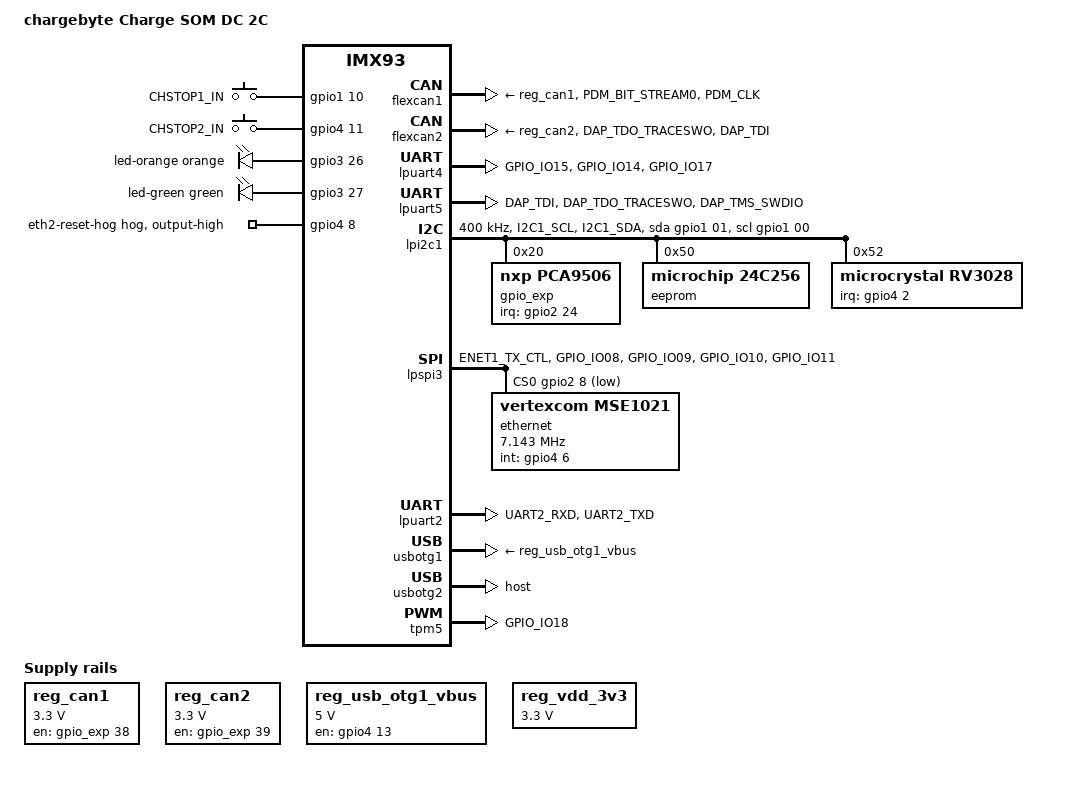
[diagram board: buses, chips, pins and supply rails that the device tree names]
// SPDX-License-Identifier: (GPL-2.0+ OR MIT)
/*
 * Copyright (C) 2025 chargebyte GmbH
 */

/dts-v1/;

#include <dt-bindings/input/input.h>
#include <dt-bindings/leds/common.h>
#include "imx93-phycore-som.dtsi"
#include "imx93-charge-som.dtsi"

/ {
	model = "chargebyte Charge SOM DC 2C";
	compatible = "chargebyte,imx93-charge-som-dc-2c", "chargebyte,imx93-charge-som",
		     "phytec,imx93-phycore-som", "fsl,imx93";

	aliases {
		rtc0 = &rv3028;
		rtc1 = &bbnsm_rtc;
	};

	reg_can1: regulator-can {
		compatible = "regulator-fixed";
		gpio = <&gpio_exp 38 GPIO_ACTIVE_HIGH>;
		enable-active-high;
		regulator-max-microvolt = <3300000>;
		regulator-min-microvolt = <3300000>;
		regulator-name = "CAN1_EN";
	};

	reg_can2: regulator-can {
		compatible = "regulator-fixed";
		gpio = <&gpio_exp 39 GPIO_ACTIVE_HIGH>;
		enable-active-high;
		regulator-max-microvolt = <3300000>;
		regulator-min-microvolt = <3300000>;
		regulator-name = "CAN2_EN";
	};

	reg_usb_otg1_vbus: regulator-usb-otg1-vbus {
		pinctrl-names = "default";
		pinctrl-0 = <&pinctrl_usbotg1grp>;
		compatible = "regulator-fixed";
		regulator-name = "usb_otg1_vbus";
		regulator-min-microvolt = <5000000>;
		regulator-max-microvolt = <5000000>;
		gpio = <&gpio4 13 GPIO_ACTIVE_HIGH>;
		enable-active-high;
		regulator-boot-on;
	};

	reg_vdd_3v3: regulator-vdd-3v3 {
		compatible = "regulator-fixed";
		regulator-max-microvolt = <3300000>;
		regulator-min-microvolt = <3300000>;
		regulator-name = "VDD_IO_3V3";
	};

	user_keys: gpio-keys {
		compatible = "gpio-keys";
		pinctrl-names = "default";
		pinctrl-0 = <&pinctrl_gpiokeys>;

		switch-chstop1-in {
			label = "CHSTOP1_IN";
			gpios = <&gpio1 10 GPIO_ACTIVE_HIGH>;
			linux,code = <KEY_F1>;
		};

		switch-chstop2-in {
			label = "CHSTOP2_IN";
			gpios = <&gpio4 11 GPIO_ACTIVE_HIGH>;
			linux,code = <KEY_F2>;
		};
	};

	user_leds: user-leds {
		compatible = "gpio-leds";
		pinctrl-names = "default";
		pinctrl-0 = <&pinctrl_user_leds>;

		led-orange {
			color = <LED_COLOR_ID_ORANGE>;
			function = LED_FUNCTION_BOOT;
			gpios = <&gpio3 26 GPIO_ACTIVE_HIGH>;
			linux,default-trigger = "timer";
		};

		led-green {
			color = <LED_COLOR_ID_GREEN>;
			function = LED_FUNCTION_BOOT;
			gpios = <&gpio3 27 GPIO_ACTIVE_HIGH>;
		};
	};

	// Avoid conflict with Heartbeat LED on phyCore
	/delete-node/ leds;
};

&bbnsm_pwrkey {
	status = "disabled";
};

&flexcan1 {
	pinctrl-names = "default";
	pinctrl-0 = <&pinctrl_flexcan1>;
	xceiver-supply = <&reg_can1>;
	status = "okay";
};

&flexcan2 {
	pinctrl-names = "default";
	pinctrl-0 = <&pinctrl_flexcan2>;
	xceiver-supply = <&reg_can2>;
	status = "okay";
};

&lpuart4 {
	pinctrl-names = "default";
	pinctrl-0 = <&pinctrl_uart4>;
	rs485-rts-active-high;
	linux,rs485-enabled-at-boot-time;
	status = "okay";
};

&lpuart5 {
	pinctrl-names = "default";
	pinctrl-0 = <&pinctrl_uart5>;
	rs485-rts-active-high;
	linux,rs485-enabled-at-boot-time;
	status = "okay";
};

&lpi2c1 {
	clock-frequency = <400000>;
	pinctrl-names = "default", "gpio";
	pinctrl-0 = <&pinctrl_lpi2c1>;
	pinctrl-1 = <&pinctrl_lpi2c1_gpio>;
	scl-gpios = <&gpio1 00 (GPIO_ACTIVE_HIGH | GPIO_OPEN_DRAIN)>;
	sda-gpios = <&gpio1 01 (GPIO_ACTIVE_HIGH | GPIO_OPEN_DRAIN)>;
	#address-cells = <1>;
	#size-cells = <0>;
	status = "okay";

	gpio_exp: gpio@20 {
		compatible = "nxp,pca9506";
		reg = <0x20>;
		gpio-controller;
		#gpio-cells = <2>;
		interrupt-parent = <&gpio2>;
		interrupts = <24 IRQ_TYPE_LEVEL_LOW>;

		// 5 x 8 pins (0..39)
		gpio-line-names = "DOUT1_EN", "DOUT2_EN", "DOUT3_EN", "DOUT4_EN", "DOUT5_EN", "DOUT6_EN", "DOUT7_EN", "DOUT8_EN", \
		                  "DOUT9_EN", "DOUT10_EN", "DOUT11_EN", "DOUT12_EN", "DOUT13_EN", "DOUT14_EN", "DOUT15_EN", "DOUT16_EN", \
		                  "nDOUT1_ST", "nDOUT2_ST", "nDOUT3_ST", "nDOUT4_ST", "nDOUT5_ST", "nDOUT6_ST", "nDOUT7_ST", "nDOUT8_ST", \
		                  "nDOUT9_ST", "nDOUT10_ST", "nDOUT11_ST", "nDOUT12_ST", "nDOUT13_ST", "nDOUT14_ST", "nDOUT15_ST", "nDOUT16_ST", \
		                  "GPIO_EXP_1", "GPIO_EXP_2", "HW_REV1", "HW_REV2", "HW_REV3", "UART_MUX_IN", "CAN1_EN", "CAN2_EN";
	};

	eeprom@50 {
		compatible = "microchip,24c256";
		reg = <0x50>;
		pagesize = <64>;
	};

	rv3028: rtc@52 {
		compatible = "microcrystal,rv3028";
		reg = <0x52>;
		pinctrl-names = "default";
		pinctrl-0 = <&pinctrl_rtc>;
		interrupts = <2 IRQ_TYPE_LEVEL_LOW>;
		interrupt-parent = <&gpio4>;
		wakeup-source;
		trickle-resistor-ohms = <3000>;

		nvmem-layout {
			compatible = "fixed-layout";
			#address-cells = <1>;
			#size-cells = <1>;

			plc2_host_mac_address: base-mac-address@12 {
				compatible = "mac-base";
				reg = <0x12 0x6>;
				#nvmem-cell-cells = <1>;
			};

			plc2_fw_mac_address: base-mac-address@18 {
				compatible = "mac-base";
				reg = <0x18 0x6>;
				#nvmem-cell-cells = <1>;
			};

			lan9500_mac_address: base-mac-address@1e {
				compatible = "mac-base";
				reg = <0x1e 0x6>;
				#nvmem-cell-cells = <1>;
			};
		};
	};
};

&lpspi3 {
	pinctrl-names = "default";
	pinctrl-0 = <&pinctrl_lpspi3>;
	num-cs = <1>;
	cs-gpios = <&gpio2 8 GPIO_ACTIVE_LOW>;
	status = "okay";

	ethernet@0 {
		compatible = "vertexcom,mse1021";
		reg = <0>;
		int-gpios = <&gpio4 6 GPIO_ACTIVE_HIGH>;
		spi-cpha;
		spi-cpol;
		spi-max-frequency = <7142857>;

		nvmem-cells = <&plc2_host_mac_address 0>;
		nvmem-cell-names = "mac-address";
	};
};

&lpuart2 {
	pinctrl-names = "default";
	pinctrl-0 = <&pinctrl_uart2>;
	status = "okay";
};

&usbotg1 {
	vbus-supply = <&reg_usb_otg1_vbus>;
	over-current-active-low;
	status = "okay";
};

&usbotg2 {
	disable-over-current;
	dr_mode = "host";
	status = "okay";

	/* For MAC address later ...
	lan9500: ethernet@1 {
		compatible = "usb424,9500";
		reg = <1>;

		nvmem-cells = <&lan9500_mac_address 0>;
		nvmem-cell-names = "mac-address";
	};
	*/
};

// FIXME
&gpio1 {
	// 16 pins (0..15)
	gpio-line-names = "I2C1_SCL", "I2C1_SDA", "", "", "", "", "LPUART2_RX", "LPUART2_TX", "CAN1_TX", "CAN1_RX", \
			  "CHSTOP_IN", "SPI_TPM_nCS0", "", "", "", "";
};

&gpio2 {
	// 30 pins (0..29)
	gpio-line-names = "SPI_PLC_nCS0", "", "", "", "", "", "", "SPI_PLC_nINT0", "SPI_EXT_CS0", "SPI_EXT_MISO", \
			  "SPI_EXT_MOSI", "SPI_EXT_CLK", "", "", "LPUART4_TX", "LPUART4_RX", "", "LPUART4_RTS_B", "BACKLIGHT_PWM", "", \
			  "", "", "I2C5_SDA", "I2C5_SCL", "GPIOEXP_nINT", "CAN2_TX", "TOUCH_nINT", "CAN2_RX", "", "";
};

&gpio3 {
	// 32 pins (0..31)
	gpio-line-names = "RESET_nGPIO", "IMX9_DIN3", "IMX9_DIN4", "IMX9_DIN5", "IMX9_DIN6", "IMX9_DIN7", "IMX9_DIN8", "TOUCH_nRESET", "", "", \
			  "", "", "", "", "", "", "", "", "", "", \
			  "", "nPLC2_RESET_INT", "nSAFETY2_RESET_INT", "SAFETY2_BOOTMODE_SET", "IMX9_DIN1", "IMX9_DIN2", "USER_ORANGE", "USER_GREEN", "LPUART5_RX", "LPUART5_RTS_B", \
			  "PLC2_DL_INTR_SPI", "LPUART5_TX";
};

&gpio4 {
	// 30 pins (0..29)
	gpio-line-names = "USB1_ID", "", "RTC_nINT", "ETH2_nINT", "USB1_OC", "", "SPI_PLC2_nINT0", "DL_REQ_INTR_SPI", "ETH2_nRESET", "nPLC_RESET_INT", \
			  "", "CHSTOP2_IN", "SAFETY_BOOTMODE_SET", "USB1_PWREN_GPIO", "", "", "DISPLAY_EN", "", "", "", \
			  "", "SOM_EEPROM_WP", "", "SOM_RESET_PHY", "", "", "WS2812B", "PMIC_IRQ_B", "nSAFETY_RESET_INT", "SPI_TPM_nINT0";

	eth2-reset-hog {
		gpio-hog;
		gpios = <8 GPIO_ACTIVE_HIGH>;
		output-high;
	};
};

&tpm5 {
	pinctrl-names = "default";
	pinctrl-0 = <&pinctrl_backlight>;
	status = "okay";
};

&iomuxc {

	/delete-node/ pinctrl_leds;

	pinctrl_lpi2c1: lpi2c1grp {
		/* sion, drive strength: X2, slew rate: fast, pull up, open drain */
		fsl,pins = <
			MX93_PAD_I2C1_SCL__LPI2C1_SCL		0x40000b86
			MX93_PAD_I2C1_SDA__LPI2C1_SDA		0x40000b86
		>;
	};

	pinctrl_lpi2c1_gpio: lpi2c1gpiogrp {
		fsl,pins = <
			MX93_PAD_I2C1_SCL__GPIO1_IO00		0x40000b9e
			MX93_PAD_I2C1_SDA__GPIO1_IO01		0x40000b9e
		>;
	};

	pinctrl_lpspi3: lpspi3grp {
		/* drive strength: X2, slew rate: fast, no pull */
		fsl,pins = <
			MX93_PAD_ENET1_TX_CTL__GPIO4_IO06	0x186 // SPI_PLC_nINT0
			MX93_PAD_GPIO_IO08__GPIO2_IO08		0x186 // SPI_EXT_CS0
			MX93_PAD_GPIO_IO09__LPSPI3_SIN		0x186
			MX93_PAD_GPIO_IO10__LPSPI3_SOUT		0x186
			MX93_PAD_GPIO_IO11__LPSPI3_SCK		0x186
		>;
	};

	pinctrl_uart2: uart2grp {
		fsl,pins = <
			MX93_PAD_UART2_RXD__LPUART2_RX		0x31e // drive strength: X4, slew rate: slightly fast, pull up
			MX93_PAD_UART2_TXD__LPUART2_TX 		0x30e // drive strength: X3, slew rate: slightly fast, pull up
		>;
	};

	pinctrl_gpiokeys: keygrp {
		fsl,pins = <
			MX93_PAD_PDM_BIT_STREAM1__GPIO1_IO10	0x31e // CHSTOP1_IN
			MX93_PAD_ENET1_RD1__GPIO4_IO11		0x31e // CHSTOP2_IN
		>;
	};

	pinctrl_usbotg1grp: usb1grp {
		fsl,pins = <
			MX93_PAD_ENET1_TD1__HSIOMIX_OTG_OC1	0x31e
			MX93_PAD_ENET1_RD3__GPIO4_IO13		0x31e // USB1_PWREN_GPIO
			// MX93_PAD_ENET1_MDIO__HSIOMIX_OTG_PWR1 not connected
		>;
	};

	pinctrl_user_leds: userledgrp {
		fsl,pins = <
			MX93_PAD_CCM_CLKO1__GPIO3_IO26		0x31e // USER_ORANGE
			MX93_PAD_CCM_CLKO2__GPIO3_IO27		0x31e // USER_GREEN
		>;
	};

	pinctrl_rtc: rtcgrp {
		fsl,pins = <
			MX93_PAD_ENET1_TD3__GPIO4_IO02		0x31e // RTC_nINT
		>;
	};

	pinctrl_flexcan1: flexcan1grp {
		fsl,pins = <
			MX93_PAD_PDM_BIT_STREAM0__CAN1_RX	0x139e
			MX93_PAD_PDM_CLK__CAN1_TX		0x1382
		>;
	};

	pinctrl_flexcan2: flexcan2grp {
		fsl,pins = <
			MX93_PAD_DAP_TDO_TRACESWO__CAN2_RX	0x139e
			MX93_PAD_DAP_TDI__CAN2_TX		0x1382
		>;
	};

	pinctrl_uart4: uart4grp {
		fsl,pins = <
			MX93_PAD_GPIO_IO15__LPUART4_RX		0x31e // drive strength: X4, slew rate: slightly fast, pull up
			MX93_PAD_GPIO_IO14__LPUART4_TX		0x30e // drive strength: X3, slew rate: slightly fast, pull up
			MX93_PAD_GPIO_IO17__LPUART4_RTS_B	0x31e // drive strength: X4, slew rate: slightly fast, pull up
		>;
	};

	pinctrl_uart5: uart5grp {
		fsl,pins = <
			MX93_PAD_DAP_TDI__LPUART5_RX		0x31e // drive strength: X4, slew rate: slightly fast, pull up
			MX93_PAD_DAP_TDO_TRACESWO__LPUART5_TX	0x30e // drive strength: X3, slew rate: slightly fast, pull up
			MX93_PAD_DAP_TMS_SWDIO__LPUART5_RTS_B	0x31e // drive strength: X4, slew rate: slightly fast, pull up
		>;
	};

	pinctrl_ws2812b: ws2812bgrp {
		fsl,pins = <
			MX93_PAD_ENET2_RD2__FLEXIO2_FLEXIO26	0x31e // WS2812B
		>;
	};

	pinctrl_backlight: backlight_grp {
		fsl,pins = <
			MX93_PAD_GPIO_IO18__TPM5_CH2		0x31e // BACKLIGHT_PWM
		>;
	};
};
